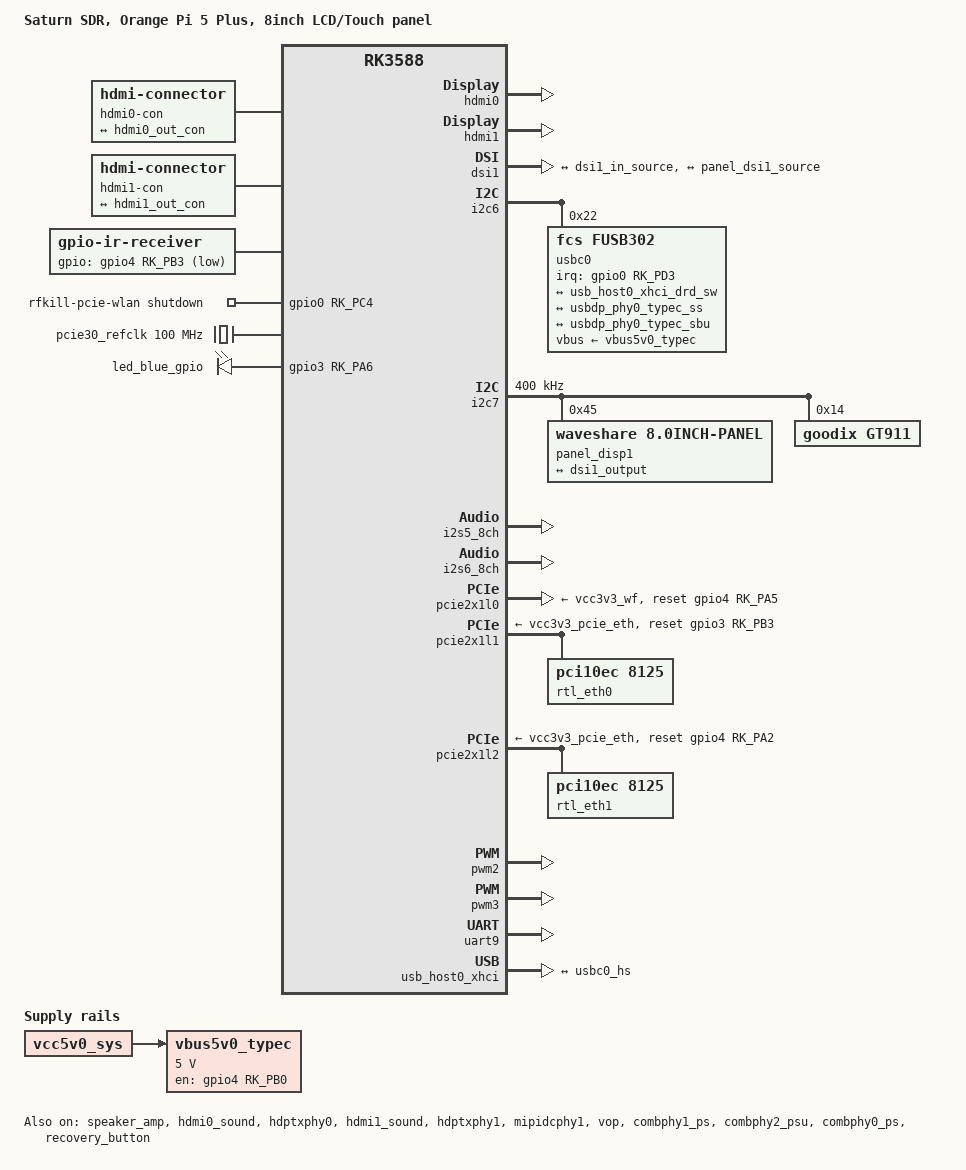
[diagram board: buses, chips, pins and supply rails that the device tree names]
// SPDX-License-Identifier: (GPL-2.0+ OR MIT)
/*
 * Copyright (c) 2023 Ondřej Jirman <megi@xff.cz>
 * Copyright (c) 2026 CT1IQI <ct1iqi@cacelense.pt>
 */

/dts-v1/;

#include <dt-bindings/gpio/gpio.h>
#include <dt-bindings/pinctrl/rockchip.h>
#include <dt-bindings/soc/rockchip,vop2.h>
#include <dt-bindings/usb/pd.h>
#include "rk3588-orangepi-5.dtsi"

/ {
	model = "Saturn SDR, Orange Pi 5 Plus, 8inch LCD/Touch panel";
	compatible = "xunlong,orangepi-5-plus", "rockchip,rk3588";

	hdmi0-con {
		compatible = "hdmi-connector";
		type = "a";

		port {
			hdmi0_con_in: endpoint {
				remote-endpoint = <&hdmi0_out_con>;
			};
		};
	};

	hdmi1-con {
		compatible = "hdmi-connector";
		type = "a";

		port {
			hdmi1_con_in: endpoint {
				remote-endpoint = <&hdmi1_out_con>;
			};
		};
	};

	ir-receiver {
		compatible = "gpio-ir-receiver";
		gpios = <&gpio4 RK_PB3 GPIO_ACTIVE_LOW>;
		pinctrl-names = "default";
		pinctrl-0 = <&ir_receiver_pin>;
	};

	rfkill {
		compatible = "rfkill-gpio";
		label = "rfkill-pcie-wlan";
		radio-type = "wlan";
		shutdown-gpios = <&gpio0 RK_PC4 GPIO_ACTIVE_HIGH>;
	};

	vbus5v0_typec: regulator-vbus-typec {
		compatible = "regulator-fixed";
		enable-active-high;
		gpio = <&gpio4 RK_PB0 GPIO_ACTIVE_HIGH>;
		pinctrl-names = "default";
		pinctrl-0 = <&typec5v_pwren>;
		regulator-name = "vbus5v0_typec";
		regulator-min-microvolt = <5000000>;
		regulator-max-microvolt = <5000000>;
		vin-supply = <&vcc5v0_sys>;
	};

	/* Unnamed gated oscillator: 100MHz, 3.3V, AU5426 Buffer IC */
	pcie30_refclk: pcie-oscillator {
		compatible = "gated-fixed-clock";
		#clock-cells = <0>;
		clock-frequency = <100000000>;
		clock-output-names = "pcie30_refclk";
		vdd-supply = <&vcc3v3_pcie30>;
	};
};

&speaker_amp {
	enable-gpios = <&gpio3 RK_PC0 GPIO_ACTIVE_HIGH>;
	status = "okay";
};

&headphone_amp {
	enable-gpios = <&gpio3 RK_PA7 GPIO_ACTIVE_HIGH>;
};

&analog_sound {
	pinctrl-names = "default";
	pinctrl-0 = <&hp_detect>;
	simple-audio-card,aux-devs = <&speaker_amp>, <&headphone_amp>;
	simple-audio-card,hp-det-gpios = <&gpio1 RK_PD3 GPIO_ACTIVE_HIGH>;
	simple-audio-card,widgets =
		"Microphone", "Onboard Microphone",
		"Microphone", "Microphone Jack",
		"Speaker", "Speaker",
		"Headphone", "Headphones";

	simple-audio-card,routing =
		"Headphones", "LOUT1",
		"Headphones", "ROUT1",
		"Speaker", "LOUT2",
		"Speaker", "ROUT2",

		"Headphones", "Headphones Amp OUTL",
		"Headphones", "Headphones Amp OUTR",
		"Headphones Amp INL", "LOUT1",
		"Headphones Amp INR", "ROUT1",

		"Speaker", "Speaker Amp OUTL",
		"Speaker", "Speaker Amp OUTR",
		"Speaker Amp INL", "LOUT2",
		"Speaker Amp INR", "ROUT2",

		/* single ended signal to LINPUT1 */
		"LINPUT1", "Microphone Jack",
		"RINPUT1", "Microphone Jack",
		/* differential signal */
		"LINPUT2", "Onboard Microphone",
		"RINPUT2", "Onboard Microphone";
};

&fan {
	pwms = <&pwm3 0 50000 0>;
};

// HDMI0
&hdmi0 {
	cec-enable = "true";
	status = "okay";
};

&hdmi0_sound {
	status = "okay";
};

&hdmi0_out {
	hdmi0_out_con: endpoint {
		remote-endpoint = <&hdmi0_con_in>;
	};
};

&hdmi0_in {
	hdmi0_input: endpoint {
		remote-endpoint = <&vp_out_to_hdmi0>;
	};
};

&vp1 {
	vp_out_to_hdmi0: endpoint@ROCKCHIP_VOP2_EP_HDMI0 {
		reg = <ROCKCHIP_VOP2_EP_HDMI0>;
		remote-endpoint = <&hdmi0_input>;
	};
};

&hdptxphy0 {
	status = "okay";
};

// HDMI1
&hdmi1 {
	status = "okay";
};

&hdmi1_sound {
	status = "okay";
};

&hdptxphy1 {
	status = "okay";
};

&hdmi1_out {
	hdmi1_out_con: endpoint {
		remote-endpoint = <&hdmi1_con_in>;
	};
};

&hdmi1_in {
	hdmi1_input: endpoint {
		remote-endpoint = <&vp_out_hdmi1>;
	};
};

&vp0 {
	vp_out_hdmi1: endpoint@ROCKCHIP_VOP2_EP_HDMI1 {
		reg = <ROCKCHIP_VOP2_EP_HDMI1>;
		remote-endpoint = <&hdmi1_input>;
	};
};

// MIPI / DSI1
&dsi1 {
	status = "okay";
	ports {
		#address-cells = <1>;
		#size-cells = <0>;

		port@0 {
			reg = <0>;
			dsi1_input: endpoint {
				remote-endpoint = <&dsi1_in_source>;
			};
		};

		port@1 {
			reg = <1>;
			dsi1_output: endpoint {
				remote-endpoint = <&panel_dsi1_source>;
			};
		};
	};
};

&mipidcphy1 {
	status = "okay";
};

// !! vp3 to dsi1 !!
&vp3 {
	dsi1_in_source: endpoint@ROCKCHIP_VOP2_EP_MIPI1 {
		reg = <ROCKCHIP_VOP2_EP_MIPI1>;
		remote-endpoint = <&dsi1_input>;
	};
};

&vop {
	status = "okay";
};

&vop_mmu {
	status = "okay";
};

/* ____ disable vp not used for HDMI or DSI _____*/
&vop_out {
	/delete-node/ vp2;
};

// Power domain VOP and DSI, forgotten in main line
&pd_vop {
	clocks = <&cru ACLK_VOP_ROOT>,
		<&cru PCLK_VOP_ROOT>,
		<&cru HCLK_VOP_ROOT>,
		<&cru ACLK_VOP>,
		<&cru HCLK_VOP>,
		<&cru PCLK_DSIHOST0>,
		<&cru PCLK_DSIHOST1>,
		<&cru CLK_DSIHOST0>,
		<&cru CLK_DSIHOST1>;
//	domain-supply = <&vdd_log_s0>;
};

/*
// HDMI Receiver
&hdmi_receiver_cma {
	status = "okay";
};

&hdmi_receiver {
	hpd-gpios = <&gpio1 RK_PC6 GPIO_ACTIVE_LOW>;
	pinctrl-0 = <&hdmim1_rx_cec &hdmim1_rx_hpdin &hdmim1_rx_scl &hdmim1_rx_sda &hdmirx_hpd>;
	pinctrl-names = "default";
	status = "okay";
};
*/

&hdmi_receiver_cma {
	status = "disabled";
};

&hdmi_receiver {
	status = "disabled";
};

&vepu121_1 {
	status = "disabled";
};

&vepu121_2 {
	status = "disabled";
};

&vepu121_3 {
	status = "disabled";
};

&vdec1 {
	status = "disabled";
};

&hym8563 {
	interrupt-parent = <&gpio0>;
	interrupts = <RK_PB0 IRQ_TYPE_LEVEL_LOW>;
	pinctrl-names = "default";
	pinctrl-0 = <&hym8563_int>;
};

&i2c6 {
	usbc0: usb-typec@22 {
		compatible = "fcs,fusb302";
		reg = <0x22>;
		interrupt-parent = <&gpio0>;
		interrupts = <RK_PD3 IRQ_TYPE_LEVEL_LOW>;
		pinctrl-names = "default";
		pinctrl-0 = <&usbc0_int>;
		vbus-supply = <&vbus5v0_typec>;
		status = "okay";

		usb_con: connector {
			compatible = "usb-c-connector";
			data-role = "dual";
			label = "USB-C";
			power-role = "dual";
			op-sink-microwatt = <10>;
			source-pdos = <PDO_FIXED(5000, 1400, PDO_FIXED_USB_COMM)>;
			sink-pdos = <PDO_FIXED(5000, 10, PDO_FIXED_USB_COMM)>;
			try-power-role = "source";

			ports {
				#address-cells = <1>;
				#size-cells = <0>;

				port@0 {
					reg = <0>;

					usbc0_hs: endpoint {
						remote-endpoint = <&usb_host0_xhci_drd_sw>;
					};
				};

				port@1 {
					reg = <1>;

					usbc0_ss: endpoint {
						remote-endpoint = <&usbdp_phy0_typec_ss>;
					};
				};

				port@2 {
					reg = <2>;

					usbc0_sbu: endpoint {
						remote-endpoint = <&usbdp_phy0_typec_sbu>;
					};
				};
			};
		};
	};
};

&i2c7 {
	clock-frequency = <400000>; // goodix touch & ES8388 max. spec
	
	panel_disp1@45 {
		reg = <0x45>;
		compatible = "waveshare,8.0inch-panel";
		orientation = "Normal";
		status = "okay";

		ports {
			port {
				panel_dsi1_source: endpoint {
					remote-endpoint = <&dsi1_output>;
				};
			};
		};
	};

	goodix@14 {
		reg = <0x14>;
		compatible = "goodix,gt911";
		touchscreen-size-x = <800>;  // int32 value
		touchscreen-size-y = <1280>; // int32 value
		touchscreen-inverted-x;
		touchscreen-swapped-x-y;
	};
};

&es8388 {
	clock-names = "mclk";
	assigned-clocks = <&cru I2S0_8CH_MCLKOUT_TO_IO>;
};

&daicpu {
	system-clock-direction-out;
};

&i2s5_8ch {
	status = "okay";
};

&i2s6_8ch {
	status = "okay";
};

&led_blue_gpio {
	gpios = <&gpio3 RK_PA6 GPIO_ACTIVE_HIGH>;
	status = "okay";
};

&led_green_pwm {
	pwms = <&pwm2 0 25000 0>;
};

/* M.2 E KEY socket
 * Reset defined in rk3588-base-pinctrl.dtsi
 */
&pcie2x1l0 {
//	pinctrl-names = "default";
//	pinctrl-0 = <&pcie30x1m1_0_perstn>;
	reset-gpios = <&gpio4 RK_PA5 GPIO_ACTIVE_HIGH>;
	vpcie3v3-supply = <&vcc3v3_wf>;
	status = "okay";
};

&vcc3v3_wf {
	status = "okay";
};

/* 
 * Combo phy 1 configured to serve pcie2x1l0
 */
&combphy1_ps {
	status = "okay";
};

/* ETHERNET phy1 - right ethernet port, uses PCIe2
 * Using pcie2x1l2
 * Reset gpio pin not defined in imported rk3588-base-pinctrol.dtsi.
 * So we add it here in pinctrl.
 */
&pcie2x1l1 {
	reset-gpios = <&gpio3 RK_PB3 GPIO_ACTIVE_HIGH>;
	vpcie3v3-supply = <&vcc3v3_pcie_eth>;
	status = "okay";
	
	pcie@0,0 {
		reg = <0x300000 0 0 0 0>;
		#address-cells = <3>;
		#size-cells = <2>;
		ranges;
		device_type = "pci";
		bus-range = <0x30 0x3f>;

		rtl_eth0: ethernet@0,0 {
			compatible = "pci10ec,8125";
			reg = <0x310000 0 0 0 0>;
		};
	};
};

/* 
 * Combo phy 2 configured to serve pcie2x1l1
 */
&combphy2_psu {
	status = "okay";
};

/* phy2 - left ethernet port
 * Using pcie3x1l1 control lines
 * reset defined in imported rk3588-base-pinctrol.dtsi:
 * 'pcie30x1m1_1_perstn' in section 'pci30x1'
 */
&pcie2x1l2 {
	reset-gpios = <&gpio4 RK_PA2 GPIO_ACTIVE_HIGH>;
	vpcie3v3-supply = <&vcc3v3_pcie_eth>;
	status = "okay";
	
	pcie@0,0 {
		reg = <0x400000 0 0 0 0>;
		#address-cells = <3>;
		#size-cells = <2>;
		ranges;
		device_type = "pci";
		bus-range = <0x40 0x4f>;

		rtl_eth1: ethernet@0,0 {
			compatible = "pci10ec,8125";
			reg = <0x410000 0 0 0 0>;
		};
	};
};

/*
 * Combo phy 0 configured to serve pcie2x1l2
 */
&combphy0_ps {
	status = "okay";
};

&vcc3v3_pcie_eth {
	gpios = <&gpio3 RK_PB4 GPIO_ACTIVE_LOW>;
	pinctrl-names = "default";
	pinctrl-0 = <&pcie_eth_en_l>;
};

/* M.2 M.key */
&pcie3x4 {
	/*
	 * The board has a "pcie_refclk" oscillator that needs enabling,
	 * so add it to the list of clocks.
	 */
	clocks = <&cru ACLK_PCIE_4L_MSTR>, <&cru ACLK_PCIE_4L_SLV>,
		<&cru ACLK_PCIE_4L_DBI>, <&cru PCLK_PCIE_4L>,
		<&cru CLK_PCIE_AUX0>, <&cru CLK_PCIE4L_PIPE>,
		<&pcie30_refclk>;
	clock-names = "aclk_mst", "aclk_slv",
		"aclk_dbi", "pclk",
		"aux", "pipe",
		"ref";
};

&pcie30phy {
	data-lanes = <1 1 1 1>;
	/* separate clock lines from the clock generator to phy and devices */
	rockchip,rx-common-refclk-mode = <0 0 0 0>;
};

&pinctrl {
	pcie {
		pcie30x4_pwren_h: pcie30x4-pwren-h {
			rockchip,pins = <2 RK_PB6 RK_FUNC_GPIO &pcfg_pull_none>;
		};
		
		pcie_eth_en_l: pcie-eth-en-l {
			rockchip,pins = <3 RK_PB4 RK_FUNC_GPIO &pcfg_pull_none>;
		};
	};
		
	hym8563 {
		hym8563_int: hym8563-int {
			rockchip,pins = <0 RK_PB0 RK_FUNC_GPIO &pcfg_pull_none>;
		};
	};

	leds {
		blue_led_pin: blue-led {
			rockchip,pins = <3 RK_PA6 RK_FUNC_GPIO &pcfg_pull_up>;
		};
	};

	hdmirx {
		hdmirx_hpd: hdmirx-5v-detection {
			rockchip,pins = <1 RK_PC6 RK_FUNC_GPIO &pcfg_pull_none>;
		};
	};

	ir-receiver {
		ir_receiver_pin: ir-receiver-pin {
			rockchip,pins = <4 RK_PB3 RK_FUNC_GPIO &pcfg_pull_none>;
		};
	};

	sound {
		hp_detect: hp-detect {
			rockchip,pins = <1 RK_PD3 RK_FUNC_GPIO &pcfg_pull_none>;
		};
	};

	usb {
		vcc5v0_usb20_en: vcc5v0-usb20-en {
			rockchip,pins = <3 RK_PB7 RK_FUNC_GPIO &pcfg_pull_none>;
		};
	};

	usb-typec {
		usbc0_int: usbc0-int {
			rockchip,pins = <0 RK_PD3 RK_FUNC_GPIO &pcfg_pull_up>;
		};

		typec5v_pwren: typec5v-pwren {
			rockchip,pins = <4 RK_PB0 RK_FUNC_GPIO &pcfg_pull_none>;
		};
	};
};

&pwm2 {
	pinctrl-0 = <&pwm2m1_pins>;
	pinctrl-names = "default";
	status = "okay";
};

&pwm3 {
	pinctrl-0 = <&pwm3m1_pins>;
	status = "okay";
};

&recovery_button {
	status = "okay";
};

&sfc {
	pinctrl-names = "default";
	pinctrl-0 = <&fspim1_pins>;
};

&u2phy1_otg {
	phy-supply = <&vcc5v0_sys>;
};

&uart9 {
	pinctrl-0 = <&uart9m0_xfer>;
	status = "okay";
};

&usbdp_phy0 {
	mode-switch;
	orientation-switch;
	sbu1-dc-gpios = <&gpio4 RK_PA6 GPIO_ACTIVE_HIGH>;
	sbu2-dc-gpios = <&gpio4 RK_PA7 GPIO_ACTIVE_HIGH>;

	port {
		#address-cells = <1>;
		#size-cells = <0>;

		usbdp_phy0_typec_ss: endpoint@0 {
			reg = <0>;
			remote-endpoint = <&usbc0_ss>;
		};

		usbdp_phy0_typec_sbu: endpoint@1 {
			reg = <1>;
			remote-endpoint = <&usbc0_sbu>;
		};
	};
};

&usb_host0_xhci {
	usb-role-switch;

	port {
		usb_host0_xhci_drd_sw: endpoint {
			remote-endpoint = <&usbc0_hs>;
		};
	};
};

&vcc5v0_usb20 {
	gpio = <&gpio3 RK_PB7 GPIO_ACTIVE_HIGH>;
	pinctrl-names = "default";
	pinctrl-0 = <&vcc5v0_usb20_en>;
};
